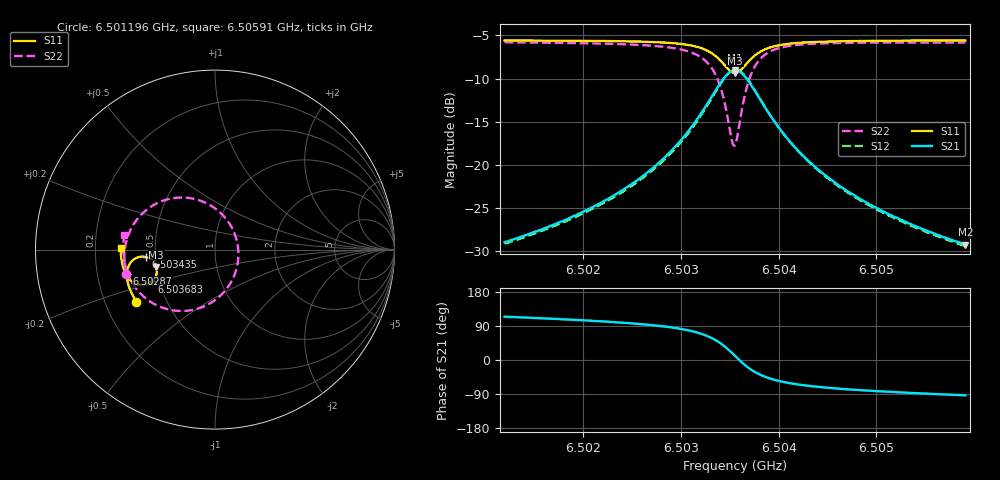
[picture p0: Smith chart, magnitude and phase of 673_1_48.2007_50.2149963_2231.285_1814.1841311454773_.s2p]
#  HZ  S  RI  R  50.00
! Rohde & Schwarz Vector Network Analyzer
! Rohde-Schwarz,ZNB20-2Port,1311601062101988,3.16
! Created: UTC 3/20/2024, 12:06:12 PM
! freq[Hz]  re:S11  im:S11  re:S21  im:S21  re:S12  im:S12  re:S22  im:S22
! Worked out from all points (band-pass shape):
!   401 points, 6.501196 GHz to 6.50591 GHz, reference 50 ohm
!   highest |S21| = -9.03 dB at 6.503553 GHz (marker M1); lowest = -29.2 dB at 6.50591 GHz (marker M2)
!   |S21| within 3 dB of the highest: 6.503318 GHz to 6.50379 GHz (471.1 kHz wide, 0.00724 % of centre)
!   lowest |S11| = -9.3 dB at 6.503553 GHz (marker M3), VSWR 2.03, Z = 25 - j5.43 ohm
!   |S11| at or under -10 dB: nowhere
!   |S22| runs from -17.8 to -5.8 dB; largest |S21 - S12| = 0.014
!   S11 on the Smith chart (normalised r, x): 6.501196 GHz: 0.34, -0.27; 6.50287 GHz: 0.33, -0.12; 6.503435 GHz: 0.45, -0.04; 6.503683 GHz: 0.46, -0.19; 6.50591 GHz: 0.31, +0.01
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6.5011964e9  -0.4382 -0.2908  -0.0147 0.0325  -0.0128 0.0326  -0.4958 -0.1334
6.501986e9  -0.4702 -0.2304  -0.0137 0.0513  -0.011 0.0508  -0.5053 -0.0456
6.5024102e9  -0.4841 -0.1914  -0.0103 0.0712  -0.00695 0.0699  -0.5001 0.0181
6.5027755e9  -0.4914 -0.1489  -0.000218 0.1031  0.00405 0.1003  -0.477 0.0963
6.5028698e9  -0.4917 -0.1355  0.00581 0.1155  0.0101 0.1123  -0.4641 0.1231
6.5030701e9  -0.4855 -0.1009  0.0309 0.1523  0.0351 0.1472  -0.4122 0.194
6.5032116e9  -0.4689 -0.0705  0.0726 0.1873  0.0759 0.1806  -0.3317 0.2539
6.5033412e9  -0.4311 -0.0437  0.1527 0.2135  0.1541 0.2062  -0.186 0.2902
6.5034355e9  -0.3827 -0.0417  0.2476 0.1958  0.2485 0.1898  -0.0215 0.2444
6.503518e9  -0.3382 -0.0728  0.3288 0.1179  0.3318 0.1121  0.1084 0.0906
6.5035533e9  -0.327 -0.0962  0.3471 0.0668  0.351 0.0599  0.13 -0.00499
6.5035769e9  -0.3239 -0.1132  0.3504 0.0307  0.3548 0.0223  0.1273 -0.0715
6.5036122e9  -0.3264 -0.1384  0.3425 -0.0215  0.3463 -0.0322  0.0985 -0.1646
6.5036829e9  -0.3497 -0.1773  0.2934 -0.1009  0.2929 -0.1143  -0.0173 -0.2935
6.5037772e9  -0.3924 -0.1978  0.2114 -0.1457  0.2058 -0.1576  -0.1841 -0.3421
6.5038479e9  -0.4196 -0.1977  0.1618 -0.151  0.154 -0.1599  -0.2771 -0.3288
6.5039304e9  -0.4434 -0.1903  0.1196 -0.1447  0.1112 -0.1509  -0.3514 -0.2957
6.5040954e9  -0.4733 -0.169  0.0699 -0.1224  0.0623 -0.1254  -0.4322 -0.2259
6.5043429e9  -0.4961 -0.1375  0.0357 -0.0944  0.03 -0.095  -0.4813 -0.1457
6.5047082e9  -0.5121 -0.0978  0.0153 -0.0687  0.0114 -0.0682  -0.505 -0.0669
6.5051324e9  -0.5209 -0.0575  0.00547 -0.0514  0.00266 -0.0507  -0.5112 -0.00317
6.5059102e9  -0.5258 0.00931  -0.00194 -0.0346  -0.00362 -0.0337  -0.5045 0.083
